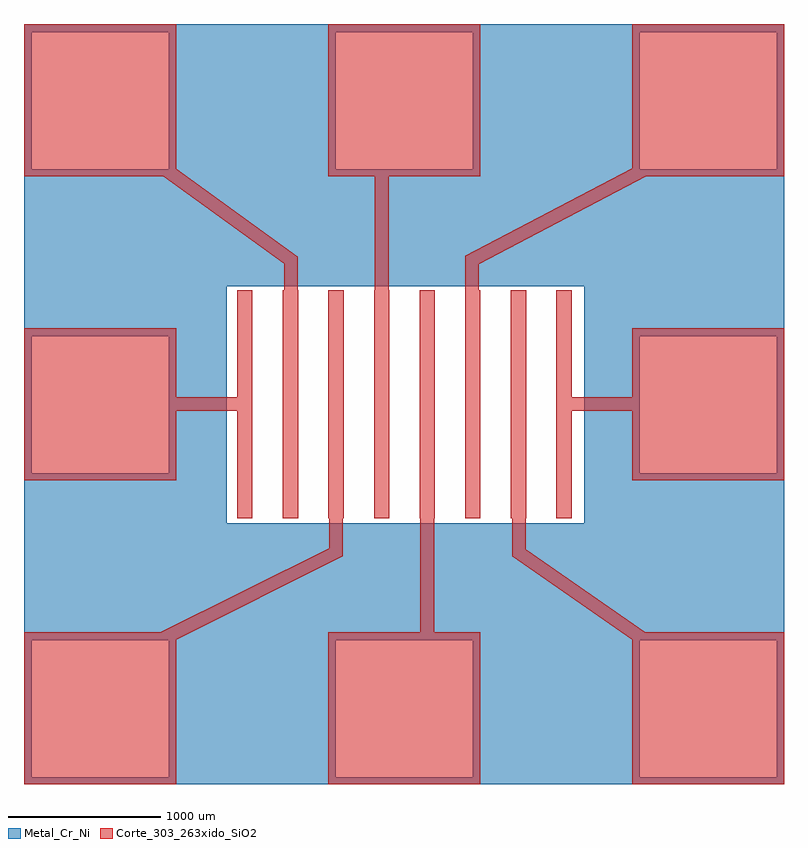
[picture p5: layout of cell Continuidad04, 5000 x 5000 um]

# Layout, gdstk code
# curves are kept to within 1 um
import gdstk
lib = gdstk.Library(unit=1e-6, precision=1e-06)
def P(c, l, *ps):  # polygons
    for p in ps: c.add(gdstk.Polygon(p, *l))
Corte_303_263xido_SiO2 = (1, 0)
Metal_Cr_Ni = (2, 0)

continuidad04 = lib.new_cell('Continuidad04')
P(continuidad04, Corte_303_263xido_SiO2, [(475921,1414),(475921,2914),(476021,2914),(476021,2209),(476418,2209),(476418,2664),(477418,2664),(477418,1664),(476418,1664),(476418,2119),(476021,2119),(476021,1414)],
  [(476418,-336),(476418,614),(475630,1161),(475630,1414),(475621,1414),(475621,2914),(475721,2914),(475720,1208),(476505,664),(477418,664),(477418,-336)],
  [(474418,-336),(474418,664),(475026,664),(475026,1414),(475021,1414),(475021,2914),(475121,2914),(475121,1414),(475116,1414),(475116,664),(475418,664),(475418,-336)],
  [(472418,-336),(472418,664),(473316,664),(474425,1216),(474425,1414),(474421,1414),(474421,2914),(474521,2914),(474521,1414),(474515,1414),(474515,1161),(473418,614),(473418,-336)],
  [(473821,1414),(473821,2119),(473418,2119),(473418,1664),(472418,1664),(472418,2664),(473418,2664),(473418,2209),(473821,2209),(473821,2914),(473921,2914),(473921,1414)],
  [(474121,1414),(474121,2914),(474129,2914),(474129,3086),(473333,3664),(472418,3664),(472418,4664),(473418,4664),(473418,3713),(474219,3132),(474219,2914),(474221,2914),(474221,1414)],
  [(474721,1414),(474721,2914),(474727,2914),(474727,3664),(474418,3664),(474418,4664),(475418,4664),(475418,3664),(474817,3664),(474817,2914),(474821,2914),(474821,1414)],
  [(475321,1414),(475321,3139),(476418,3715),(476418,4664),(477418,4664),(477418,3664),(476513,3664),(475411,3084),(475411,2914),(475421,2914),(475421,1414)])
P(continuidad04, Metal_Cr_Ni, [(472418,-336),(472418,610),(472469,610),(472469,-290),(473369,-290),(473369,610),(474469,610),(474469,-290),(475369,-290),(475369,610),(476469,610),(476469,-290),(477369,-290),(477369,610),(472418,610),(472418,2610),(472469,2610),(472469,1710),(473369,1710),(473369,2610),(472418,2610),(472418,2940),(473751,2940),(473751,1381),(476104,1381),(476104,2610),(476469,2610),(476469,1710),(477369,1710),(477369,2610),(476104,2610),(476104,2940),(472418,2940),(472418,4610),(472469,4610),(472469,3710),(473369,3710),(473369,4610),(474469,4610),(474469,3710),(475369,3710),(475369,4610),(476469,4610),(476469,3710),(477369,3710),(477369,4610),(472418,4610),(472418,4664),(477418,4664),(477418,-336)])

lib.write_gds('Continuidad04.gds')
